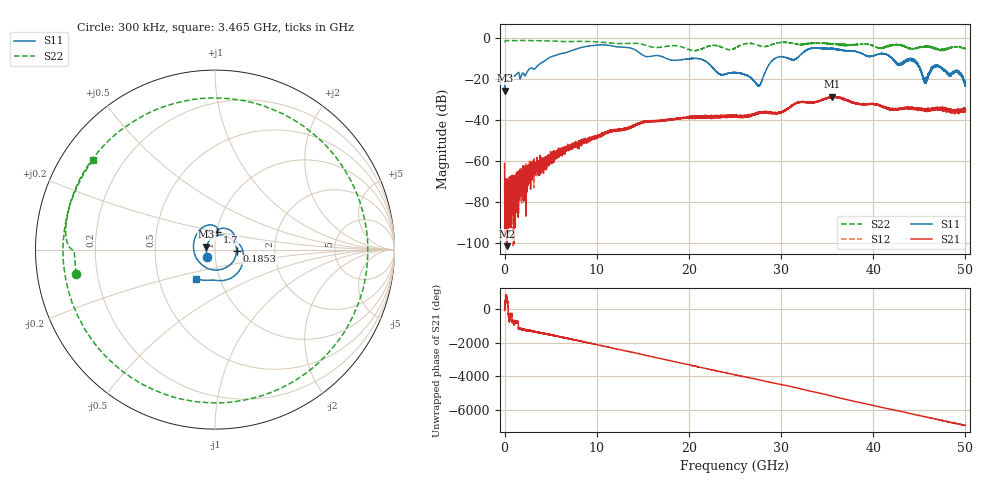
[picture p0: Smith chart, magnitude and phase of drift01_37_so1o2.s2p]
!Created with skrf (http://scikit-rf.org).
# Hz S RI R 50.0
!freq ReS11 ImS11 ReS21 ImS21 ReS12 ImS12 ReS22 ImS22
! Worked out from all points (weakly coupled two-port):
!   10001 points, 300 kHz to 50 GHz, reference 50 ohm
!   highest |S21| = -28.75 dB at 35.52 GHz (marker M1); lowest = -101.8 dB at 245.3 MHz (marker M2)
!   lowest |S11| = -25.8 dB at 5.3 MHz (marker M3), VSWR 1.11, Z = 45.3 + j1.42 ohm
!   |S11| at or under -10 dB: start of sweep to 4.765 GHz; 17.5 GHz to 29.4 GHz (11.9 GHz wide, 50.8 % of centre); 42.05 GHz to end of sweep (the widest 3 of 10)
!   |S22| runs from -6.4 to -1.4 dB; largest |S21 - S12| = 0.0035
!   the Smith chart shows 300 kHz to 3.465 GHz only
!   S11 on the Smith chart (normalised r, x): 300 kHz: 0.91, -0.07; 185.3 MHz: 1.27, -0.02; 1.7 GHz: 1.00, +0.20; 3.465 GHz: 0.77, -0.26
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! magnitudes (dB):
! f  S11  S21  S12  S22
! 300 kHz  -24.1  -61.4  -72.7  -2.1
! 5.3 MHz  -25.8  -71.0  -72.6  -2.1
! 185.3 MHz  -18.3  -74.7  -75.4  -1.4
! 245.3 MHz  -18.3  -101.8  -72.1  -1.4
! 1.7 GHz  -20.1  -72.2  -69.0  -1.4
! 3.465 GHz  -14.3  -63.8  -64.5  -1.5
! 8.335 GHz  -4.8  -51.5  -50.7  -1.8
! 16.67 GHz  -8.7  -40.6  -40.7  -4.8
! 21.16 GHz  -10.3  -39.1  -38.9  -5.9
! 25 GHz  -17.0  -38.3  -38.0  -5.1
! 27.59 GHz  -23.6  -36.6  -36.7  -3.8
! 29.27 GHz  -10.4  -36.9  -37.0  -2.9
! 31.45 GHz  -10.9  -32.4  -32.4  -3.0
! 33.34 GHz  -5.1  -31.6  -31.6  -2.7
! 35.52 GHz  -5.5  -28.7  -29.0  -3.1
! 41.67 GHz  -8.8  -34.3  -34.8  -4.2
! 42.74 GHz  -13.2  -34.5  -34.7  -3.4
! 44.52 GHz  -11.4  -34.5  -34.5  -5.5
! 45.63 GHz  -21.5  -34.9  -35.0  -4.3
! 46.93 GHz  -13.4  -34.9  -34.6  -5.4
! 49.21 GHz  -16.1  -35.9  -36.2  -4.5
! 50 GHz  -22.3  -35.3  -34.8  -5.4
